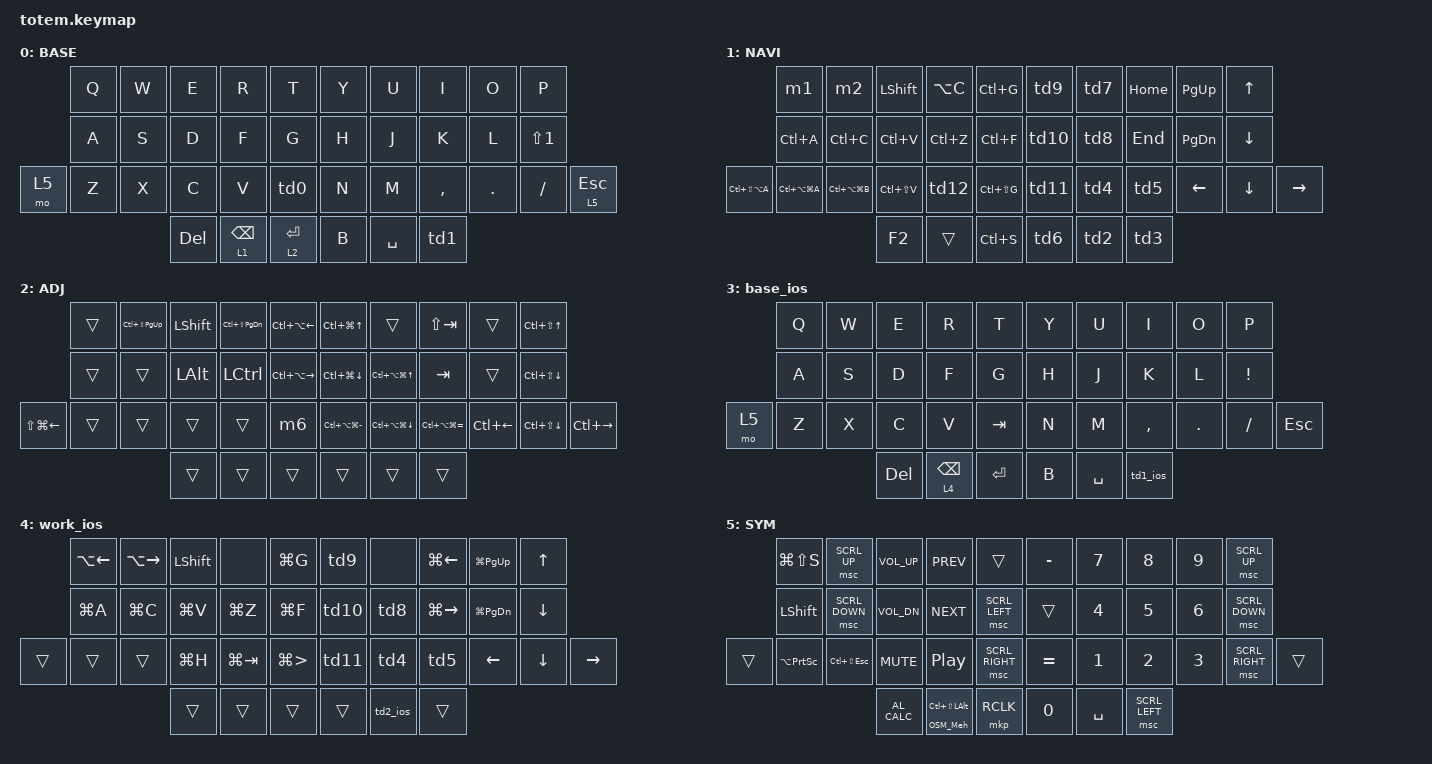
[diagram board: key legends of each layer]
//
//                                                        ▀▀▀▀▀     ▀▀▀▀▀          ▀▀█▀▀
//                                                        ▄▀▀▀▄  ▄  ▄▀▀▀▄  ▄  ▄▀▀▀▄  █  ▄▀▀▀▄
//                                                        █   █  █  █   █  █  █   █  █  █   █
//                                                         ▀▀▀   █   ▀▀▀   █   ▀▀▀   ▀   ▀▀▀
//                                                               █      ▄▄▄█▄▄▄    █   █  
//                                                               ▀      █  █  █     █▄█
//                                                             ▀▀▀▀▀    █  █  █      ▀
//                                                                      ▀  ▀  ▀
//
// ▄▄▄▄▄▄▄▄▄▄▄▄▄▄▄▄▄▄▄▄▄▄▄▄▄▄▄▄▄▄▄▄▄▄▄▄▄▄▄▄▄▄▄▄▄▄▄▄▄▄▄▄▄▄▄▄▄▄▄▄▄▄▄▄▄▄▄▄▄▄▄▄▄▄▄▄▄▄▄▄▄▄▄▄▄▄▄▄▄▄▄▄▄▄▄▄▄▄▄▄▄▄▄▄▄▄▄▄▄▄▄▄▄▄▄▄▄▄▄▄▄▄▄▄▄▄▄▄▄▄▄▄▄▄▄▄▄▄▄▄▄▄▄▄▄▄▄▄▄

#include <dt-bindings/zmk/mouse.h>
#include <behaviors.dtsi>
#include <dt-bindings/zmk/bt.h>
#include <dt-bindings/zmk/keys.h>
#include <dt-bindings/zmk/pointing.h>

#define BASE 0
#define NAV  1
#define SYM  2
#define ADJ  3
#define TVP1 4
#define TVP2 5

/ {
    combos {
        compatible = "zmk,combos";

        L_shift {
            bindings = <&kp LEFT_SHIFT>;
            key-positions = <11 12 13>;
            timeout-ms = <200>;
        };

        R_Shift {
            bindings = <&kp RIGHT_SHIFT>;
            key-positions = <16 17 18>;
            timeout-ms = <200>;
        };

        L_Ctrl {
            bindings = <&kp LEFT_CONTROL>;
            key-positions = <1 2 3>;
            timeout-ms = <200>;
        };

        R_Ctrl {
            bindings = <&kp RIGHT_CONTROL>;
            key-positions = <6 7 8>;
            timeout-ms = <200>;
        };

        L_Alt {
            bindings = <&kp LEFT_ALT>;
            key-positions = <13 14>;
            timeout-ms = <200>;
        };

        R_Alt {
            bindings = <&kp RIGHT_ALT>;
            key-positions = <15 16>;
            timeout-ms = <200>;
        };

        L_Gui {
            bindings = <&kp LEFT_GUI>;
            key-positions = <24 25>;
            timeout-ms = <200>;
        };

        R_Gui {
            bindings = <&kp RIGHT_GUI>;
            key-positions = <26 27>;
            timeout-ms = <200>;
        };

        T_ios {
            bindings = <&tog 3>;
            key-positions = <34 33 32>;
            timeout-ms = <200>;
        };

        T_setting {
            bindings = <&bt BT_CLR_ALL>;
            key-positions = <20 31>;
            timeout-ms = <200>;
        };

        bt_swith_0 {
            bindings = <&bt BT_SEL 0>;
            key-positions = <35 36 37 3>;
            timeout-ms = <200>;
        };

        bt_swith_1 {
            bindings = <&bt BT_SEL 1>;
            key-positions = <37 36 35 2>;
            timeout-ms = <200>;
        };

        bt_swith_2 {
            bindings = <&bt BT_SEL 2>;
            key-positions = <37 36 35 1>;
            timeout-ms = <200>;
        };

        BT_dis_0 {
            bindings = <&bt BT_DISC 0>;
            key-positions = <35 36 37 13>;
        };

        BT_dis_1 {
            bindings = <&bt BT_DISC 1>;
            key-positions = <35 36 37 12>;
        };

        BT_dis_2 {
            bindings = <&bt BT_DISC 2>;
            key-positions = <36 35 37 11>;
        };
    };

    macros {
        m1: m1 {
            compatible = "zmk,behavior-macro";
            #binding-cells = <0>;
            bindings = <&kp LC(M)>, <&macro_wait_time 10>, <&kp K>;

            label = "M1";
        };

        m2: m2 {
            compatible = "zmk,behavior-macro";
            #binding-cells = <0>;
            bindings =
                <&kp LEFT_ALT>,
                <&macro_wait_time 50>,
                <&kp T>,
                <&macro_wait_time 50>,
                <&kp ENTER>;

            label = "M2";
        };

        m3: m3 {
            compatible = "zmk,behavior-macro";
            #binding-cells = <0>;
            bindings =
                <&kp LS(LEFT_BRACKET) &kp LS(RIGHT_BRACKET)>,
                <&macro_wait_time 10>,
                <&kp LEFT>;

            label = "M3";
        };

        m4: m4 {
            compatible = "zmk,behavior-macro";
            #binding-cells = <0>;
            bindings = <&kp F6 &kp N &kp K>, <&macro_wait_time 10>, <&kp SPACE>;

            label = "M4";
        };

        m5: m5 {
            compatible = "zmk,behavior-macro";
            #binding-cells = <0>;
            bindings = <&kp F6 &kp N &kp H>, <&macro_wait_time 10>, <&kp SPACE>;

            label = "M5";
        };

        m0: m0 {
            compatible = "zmk,behavior-macro";
            #binding-cells = <0>;
            bindings =
                <&kp N0 &kp N6 &kp N0 &kp N6 &kp N2 &kp N2>,
                <&macro_wait_time 10>,
                <&kp ENTER>;

            label = "M0";
        };

        m6: m6 {
            compatible = "zmk,behavior-macro";
            #binding-cells = <0>;
            bindings = <&kp H &kp O &kp N &kp E &kp Y &kp N &kp L &kp C &kp H &kp I &kp AT &kp G &kp M &kp A &kp I &kp L &kp DOT &kp C &kp O &kp M>;
            label = "M6";
        };

        td2_tap: td2_tap {
            compatible = "zmk,behavior-macro";
            #binding-cells = <0>;
            bindings =
                <&kp DOT &kp DOT &kp DOT &kp SPACE>,
                <&macro_wait_time 10>,
                <&kp LEFT>;

            label = "TD2_TAP";
        };

        td2_hold: td2_hold {
            compatible = "zmk,behavior-macro";
            #binding-cells = <0>;
            bindings =
                <&kp FSLH &kp FSLH &kp MINUS &kp SPACE>,
                <&macro_wait_time 10>,
                <&kp LEFT>;

            label = "TD2_HOLD";
        };
    };

    behaviors {
        OSM_Meh: OSM_Meh {
            compatible = "zmk,behavior-sticky-key";
            label = "OSM_MEH";
            bindings = <&kp>;
            #binding-cells = <1>;
            release-after-ms = <200>;
            quick-release;
        };

        td1: td1 {
            compatible = "zmk,behavior-tap-dance";
            label = "TD1";
            #binding-cells = <0>;
            bindings = <&mt LANG2 LANG1>, <&kp CAPS>;

            tapping-term-ms = <300>;
        };

        td2: td2 {
            compatible = "zmk,behavior-tap-dance";
            label = "TD2";
            #binding-cells = <0>;
            bindings =
                <&mt LC(LA(LG(NUMBER_2))) LC(LA(LG(NUMBER_1)))>,
                <&kp LS(GRAVE)>;

            tapping-term-ms = <300>;
        };

        td3: td3 {
            compatible = "zmk,behavior-tap-dance";
            label = "TD3";
            #binding-cells = <0>;
            bindings =
                <&mt LC(LA(LG(NUMBER_6))) LC(LA(LG(N5)))>,
                <&kp LC(LA(LG(NUMBER_4)))>;

            tapping-term-ms = <300>;
        };

        td4: td4 {
            compatible = "zmk,behavior-tap-dance";
            label = "TD4";
            #binding-cells = <0>;
            bindings = <&mt LC(LA(LG(N7))) LS(N9)>, <&kp LEFT_BRACKET>;

            tapping-term-ms = <300>;
        };

        td5: td5 {
            compatible = "zmk,behavior-tap-dance";
            label = "TD5";
            #binding-cells = <0>;
            bindings = <&mt LC(LA(LG(N8))) LS(N0)>, <&kp RIGHT_BRACKET>;

            tapping-term-ms = <300>;
        };

        td6: td6 {
            compatible = "zmk,behavior-tap-dance";
            label = "TD6";
            #binding-cells = <0>;
            bindings = <&mt LC(LA(LG(N0))) LC(LA(LG(N9)))>, <&m3>;

            tapping-term-ms = <300>;
        };

        td7: td7 {
            compatible = "zmk,behavior-tap-dance";
            label = "TD7";
            #binding-cells = <0>;
            bindings =
                <&mt LC(LA(LG(GRAVE))) LC(LA(LG(COMMA)))>,
                <&kp LC(LA(LG(PERIOD)))>;

            tapping-term-ms = <300>;
        };

        td8: td8 {
            compatible = "zmk,behavior-tap-dance";
            label = "TD8";
            #binding-cells = <0>;
            bindings = <&kp SQT>, <&kp LS(SQT)>;

            tapping-term-ms = <300>;
        };

        td9: td9 {
            compatible = "zmk,behavior-tap-dance";
            label = "TD9";
            #binding-cells = <0>;
            bindings = <&kp MINUS>, <&kp LS(MINUS)>;

            tapping-term-ms = <300>;
        };

        td10: td10 {
            compatible = "zmk,behavior-tap-dance";
            label = "TD10";
            #binding-cells = <0>;
            bindings = <&kp SEMICOLON>, <&kp LS(SEMICOLON)>;

            tapping-term-ms = <300>;
        };

        td11: td11 {
            compatible = "zmk,behavior-tap-dance";
            label = "TD11";
            #binding-cells = <0>;
            bindings = <&kp EQUAL>, <&kp LS(EQUAL)>;

            tapping-term-ms = <300>;
        };

        td12: td12 {
            compatible = "zmk,behavior-tap-dance";
            label = "TD12";
            #binding-cells = <0>;
            bindings = <&td12_s 0 F6>, <&m4>;

            tapping-term-ms = <300>;
        };

        td12_s: td12_s {
            compatible = "zmk,behavior-hold-tap";
            label = "TD12_S";
            bindings = <&m5>, <&kp>;

            #binding-cells = <2>;
            flavor = "hold-preferred";
            tapping-term-ms = <200>;
        };

        td0: td0 {
            compatible = "zmk,behavior-tap-dance";
            label = "TD0";
            #binding-cells = <0>;
            bindings = <&kp TAB>, <&m0>;

            tapping-term-ms = <300>;
        };

        td1_ios: td1_ios {
            compatible = "zmk,behavior-tap-dance";
            label = "TD1_IOS";
            #binding-cells = <0>;
            bindings = <&kp LC(SPACE)>, <&kp CAPS>;

            tapping-term-ms = <300>;
        };

        td2_ios_s: td2_ios_s {
            compatible = "zmk,behavior-hold-tap";
            label = "TD2_IOS_S";
            bindings = <&td2_hold>, <&td2_tap>;

            #binding-cells = <2>;
            tapping-term-ms = <300>;
        };

        td2_ios: td2_ios {
            compatible = "zmk,behavior-tap-dance";
            label = "TD2_IOS";
            #binding-cells = <0>;
            bindings = <&td2_ios_s 0 0>, <&kp LS(GRAVE)>;

            tapping-term-ms = <300>;
        };

        td_space: td_space {
            compatible = "zmk,behavior-hold-tap";
            label = "TD_SPACE";
            bindings = <&mo>, <&kp>;

            #binding-cells = <2>;
            flavor = "tap-unless-interrupted";
            tapping-term-ms = <300>;
        };
    };

    keymap {
        compatible = "zmk,keymap";

        // ▄▄▄▄▄▄▄▄▄▄▄▄▄▄▄▄▄▄▄▄▄▄▄▄▄▄▄▄▄▄▄▄▄▄▄▄▄▄▄▄▄▄▄▄▄▄▄▄▄▄▄▄▄▄▄▄▄▄▄▄▄▄▄▄▄▄▄▄▄▄▄▄▄▄▄▄▄▄▄▄▄▄▄▄▄▄▄▄▄▄▄▄▄▄▄▄▄▄▄▄▄▄▄▄▄▄▄▄▄▄▄▄▄▄▄▄▄▄▄▄▄▄▄▄▄▄▄▄▄▄▄▄▄▄▄▄▄▄▄▄▄▄▄▄▄▄▄▄▄

        base_win {
            // ┏━━━━━━━━━━━━━━━━━━━━━━━━━━━━━━━━━━━━━━━┓

            label = "BASE";

            // ┗━━━━━━━━━━━━━━━━━━━━━━━━━━━━━━━━━━━━━━━┛
            //             ┏━━━━━━━━━━━┳━━━━━━━━━━━┳━━━━━━━━━━━┳━━━━━━━━━━━┳━━━━━━━━━━━┓   ┏━━━━━━━━━━━┳━━━━━━━━━━━┳━━━━━━━━━━━┳━━━━━━━━━━━┳━━━━━━━━━━━┓
            //             ┃     Q     ┃     W     ┃     F     ┃     P     ┃     G     ┃   ┃     J     ┃     L     ┃     U     ┃     Y     ┃     ;     ┃
            //             ┣━━━━━━━━━━━╋━━━━━━━━━━━╋━━━━━━━━━━━╋━━━━━━━━━━━╋━━━━━━━━━━━┫   ┣━━━━━━━━━━━╋━━━━━━━━━━━╋━━━━━━━━━━━╋━━━━━━━━━━━╋━━━━━━━━━━━┫
            //             ┃     A     ┃     R     ┃     S     ┃     T     ┃     D     ┃   ┃     H     ┃     N     ┃     E     ┃     I     ┃     O     ┃
            // ┏━━━━━━━━━━━╋━━━━━━━━━━━╋━━━━━━━━━━━╋━━━━━━━━━━━╋━━━━━━━━━━━╋━━━━━━━━━━━┫   ┣━━━━━━━━━━━╋━━━━━━━━━━━╋━━━━━━━━━━━╋━━━━━━━━━━━╋━━━━━━━━━━━╋━━━━━━━━━━━┓
            // ┃     Q     ┃     Z     ┃     X     ┃     C     ┃     V     ┃     B     ┃   ┃     K     ┃     M     ┃     ,     ┃     .     ┃     /     ┃     \     ┃
            // ┗━━━━━━━━━━━┻━━━━━━━━━━━┻━━━━━━━━━━━╋━━━━━━━━━━━╋━━━━━━━━━━━╋━━━━━━━━━━━┫   ┣━━━━━━━━━━━╋━━━━━━━━━━━╋━━━━━━━━━━━╋━━━━━━━━━━━┻━━━━━━━━━━━┻━━━━━━━━━━━┛
            //                                     ┃    DEL    ┃    TAB    ┃    SPC    ┃   ┃   ENTER   ┃           ┃   BSPC    ┃
            //                                     ┗━━━━━━━━━━━┻━━━━━━━━━━━┻━━━━━━━━━━━┛   ┗━━━━━━━━━━━┻━━━━━━━━━━━┻━━━━━━━━━━━┛

            bindings = <
       &kp Q  &kp W  &kp E       &kp R                  &kp T          &kp Y  &kp U      &kp I      &kp O    &kp P
       &kp A  &kp S  &kp D       &kp F                  &kp G          &kp H  &kp J      &kp K      &kp L    &kp LS(NUMBER_1)
&mo 5  &kp Z  &kp X  &kp C       &kp V                  &td0           &kp N  &kp M      &kp COMMA  &kp DOT  &kp FSLH          &lt 5 ESC
                     &kp DELETE  &td_space 1 BACKSPACE  &lt 2 ENTER    &kp B  &kp SPACE  &td1
            >;
        };

        work_win {
            // ┏━━━━━━━━━━━━━━━━━━━━━━━━━━━━━━━━━━━━━━━┓

            label = "NAVI";

            // ┗━━━━━━━━━━━━━━━━━━━━━━━━━━━━━━━━━━━━━━━┛
            //             ┏━━━━━━━━━━━┳━━━━━━━━━━━┳━━━━━━━━━━━┳━━━━━━━━━━━┳━━━━━━━━━━━┓   ┏━━━━━━━━━━━┳━━━━━━━━━━━┳━━━━━━━━━━━┳━━━━━━━━━━━┳━━━━━━━━━━━┓
            //             ┃           ┃           ┃     UP    ┃           ┃     {     ┃   ┃     }     ┃     7     ┃     8     ┃     9     ┃     +     ┃
            //             ┣━━━━━━━━━━━╋━━━━━━━━━━━╋━━━━━━━━━━━╋━━━━━━━━━━━╋━━━━━━━━━━━┫   ┣━━━━━━━━━━━╋━━━━━━━━━━━╋━━━━━━━━━━━╋━━━━━━━━━━━╋━━━━━━━━━━━┫
            //             ┃   SHIFT   ┃   LEFT    ┃    DOWN   ┃   RIGHT   ┃     [     ┃   ┃     ]     ┃     4     ┃     5     ┃     6     ┃     -     ┃
            // ┏━━━━━━━━━━━╋━━━━━━━━━━━╋━━━━━━━━━━━╋━━━━━━━━━━━╋━━━━━━━━━━━╋━━━━━━━━━━━┫   ┣━━━━━━━━━━━╋━━━━━━━━━━━╋━━━━━━━━━━━╋━━━━━━━━━━━╋━━━━━━━━━━━╋━━━━━━━━━━━┓
            // ┃           ┃           ┃   P UP    ┃  C LOCK   ┃  P DOWN   ┃     (     ┃   ┃     )     ┃     1     ┃     2     ┃     3     ┃     *     ┃           ┃
            // ┗━━━━━━━━━━━┻━━━━━━━━━━━┻━━━━━━━━━━━╋━━━━━━━━━━━╋━━━━━━━━━━━╋━━━━━━━━━━━┫   ┣━━━━━━━━━━━╋━━━━━━━━━━━╋━━━━━━━━━━━╋━━━━━━━━━━━┻━━━━━━━━━━━┻━━━━━━━━━━━┛
            //                                     ┃           ┃    TAB    ┃    SPC    ┃   ┃    DEL    ┃     0     ┃           ┃
            //                                     ┗━━━━━━━━━━━┻━━━━━━━━━━━┻━━━━━━━━━━━┛   ┗━━━━━━━━━━━┻━━━━━━━━━━━┻━━━━━━━━━━━┛

            bindings = <
                   &m1                &m2                &kp LEFT_SHIFT  &kp LA(C)  &kp LC(G)        &td9   &td7  &kp HOME  &kp PAGE_UP    &kp UP
                   &kp LC(A)          &kp LC(C)          &kp LC(V)       &kp LC(Z)  &kp LC(F)        &td10  &td8  &kp END   &kp PAGE_DOWN  &kp DOWN
&kp LC(LS(LA(A)))  &kp LC(LA(LG(A)))  &kp LC(LA(LG(B)))  &kp LC(LS(V))   &td12      &kp LC(LS(G))    &td11  &td4  &td5      &kp LEFT       &kp DOWN  &kp RIGHT
                                                         &kp F2          &trans     &kp LC(S)        &td6   &td2  &td3
            >;
        };

        edit_win {
            // ┏━━━━━━━━━━━━━━━━━━━━━━━━━━━━━━━━━━━━━━━┓

            label = "ADJ";

            // ┗━━━━━━━━━━━━━━━━━━━━━━━━━━━━━━━━━━━━━━━┛
            //             ┏━━━━━━━━━━━┳━━━━━━━━━━━┳━━━━━━━━━━━┳━━━━━━━━━━━┳━━━━━━━━━━━┓   ┏━━━━━━━━━━━┳━━━━━━━━━━━┳━━━━━━━━━━━┳━━━━━━━━━━━┳━━━━━━━━━━━┓
            //             ┃   RESET   ┃ BT CLEAR  ┃  OUT TOG  ┃           ┃           ┃   ┃           ┃    F7     ┃    F8     ┃    F9     ┃    F12    ┃
            //             ┣━━━━━━━━━━━╋━━━━━━━━━━━╋━━━━━━━━━━━╋━━━━━━━━━━━╋━━━━━━━━━━━┫   ┣━━━━━━━━━━━╋━━━━━━━━━━━╋━━━━━━━━━━━╋━━━━━━━━━━━╋━━━━━━━━━━━┫
            //             ┃ BOOTLOAD  ┃ BT NEXT   ┃           ┃           ┃           ┃   ┃           ┃    F4     ┃    F5     ┃    F6     ┃    F11    ┃
            // ┏━━━━━━━━━━━╋━━━━━━━━━━━╋━━━━━━━━━━━╋━━━━━━━━━━━╋━━━━━━━━━━━╋━━━━━━━━━━━┫   ┣━━━━━━━━━━━╋━━━━━━━━━━━╋━━━━━━━━━━━╋━━━━━━━━━━━╋━━━━━━━━━━━╋━━━━━━━━━━━┓
            // ┃           ┃           ┃ BT PREV   ┃           ┃           ┃           ┃   ┃           ┃    F1     ┃    F2     ┃    F3     ┃    F10    ┃           ┃
            // ┗━━━━━━━━━━━┻━━━━━━━━━━━┻━━━━━━━━━━━╋━━━━━━━━━━━╋━━━━━━━━━━━╋━━━━━━━━━━━┫   ┣━━━━━━━━━━━╋━━━━━━━━━━━╋━━━━━━━━━━━╋━━━━━━━━━━━┻━━━━━━━━━━━┻━━━━━━━━━━━┛
            //                                     ┃           ┃           ┃           ┃   ┃           ┃           ┃           ┃
            //                                     ┗━━━━━━━━━━━┻━━━━━━━━━━━┻━━━━━━━━━━━┛   ┗━━━━━━━━━━━┻━━━━━━━━━━━┻━━━━━━━━━━━┛

            bindings = <
                  &trans  &kp LC(LS(PAGE_UP))  &kp LEFT_SHIFT  &kp LC(LS(PAGE_DOWN))  &kp LC(LA(LEFT))     &kp LC(LG(UP))         &trans                &kp LS(TAB)            &trans        &kp LC(LS(UP))
                  &trans  &trans               &kp LEFT_ALT    &kp LEFT_CONTROL       &kp LC(LA(RIGHT))    &kp LC(LG(DOWN))       &kp LC(LA(LG(UP)))    &kp TAB                &trans        &kp LC(LS(DOWN))
&kp LS(LG(LEFT))  &trans  &trans               &trans          &trans                 &m6                  &kp LC(LA(LG(MINUS)))  &kp LC(LA(LG(DOWN)))  &kp LC(LA(LG(EQUAL)))  &kp LC(LEFT)  &kp LC(LS(DOWN))  &kp LC(RIGHT)
                                               &trans          &trans                 &trans               &trans                 &trans                &trans
            >;
        };

        base_ios {
            bindings = <
       &kp Q  &kp W  &kp E       &kp R                  &kp T        &kp Y  &kp U      &kp I      &kp O       &kp P
       &kp A  &kp S  &kp D       &kp F                  &kp G        &kp H  &kp J      &kp K      &kp L       &kp EXCLAMATION
&mo 5  &kp Z  &kp X  &kp C       &kp V                  &kp TAB      &kp N  &kp M      &kp COMMA  &kp PERIOD  &kp SLASH        &kp ESC
                     &kp DELETE  &td_space 4 BACKSPACE  &kp ENTER    &kp B  &kp SPACE  &td1_ios
            >;
        };

        work_ios {
            bindings = <
        &kp LA(LEFT)  &kp LA(RIGHT)  &kp LEFT_SHIFT  &none        &kp LG(G)     &td9    &none     &kp LG(LEFT_ARROW)  &kp LG(PAGE_UP)    &kp UP
        &kp LG(A)     &kp LG(C)      &kp LG(V)       &kp LG(Z)    &kp LG(F)     &td10   &td8      &kp LG(RIGHT)       &kp LG(PAGE_DOWN)  &kp DOWN
&trans  &trans        &trans         &kp LG(H)       &kp LG(TAB)  &kp LG(GT)    &td11   &td4      &td5                &kp LEFT           &kp DOWN  &kp RIGHT
                                     &trans          &trans       &trans        &trans  &td2_ios  &trans
            >;
        };

        number {
            // ┏━━━━━━━━━━━━━━━━━━━━━━━━━━━━━━━━━━━━━━━┓

            label = "SYM";

            // ┗━━━━━━━━━━━━━━━━━━━━━━━━━━━━━━━━━━━━━━━┛
            //             ┏━━━━━━━━━━━┳━━━━━━━━━━━┳━━━━━━━━━━━┳━━━━━━━━━━━┳━━━━━━━━━━━┓   ┏━━━━━━━━━━━┳━━━━━━━━━━━┳━━━━━━━━━━━┳━━━━━━━━━━━┳━━━━━━━━━━━┓
            //             ┃     !     ┃     @     ┃     #     ┃     $     ┃     %     ┃   ┃     ˆ     ┃     &     ┃     Ü     ┃     '     ┃     "     ┃
            //             ┣━━━━━━━━━━━╋━━━━━━━━━━━╋━━━━━━━━━━━╋━━━━━━━━━━━╋━━━━━━━━━━━┫   ┣━━━━━━━━━━━╋━━━━━━━━━━━╋━━━━━━━━━━━╋━━━━━━━━━━━╋━━━━━━━━━━━┫
            //             ┃     Ä     ┃           ┃    SZ     ┃           ┃           ┃   ┃   MUTE    ┃   YEN     ┃   EURO    ┃  POUND    ┃     Ö     ┃
            // ┏━━━━━━━━━━━╋━━━━━━━━━━━╋━━━━━━━━━━━╋━━━━━━━━━━━╋━━━━━━━━━━━╋━━━━━━━━━━━┫   ┣━━━━━━━━━━━╋━━━━━━━━━━━╋━━━━━━━━━━━╋━━━━━━━━━━━╋━━━━━━━━━━━╋━━━━━━━━━━━┓
            // ┃           ┃  EMAIL1   ┃  EMAIL2   ┃           ┃           ┃           ┃   ┃   VOL-    ┃   VOL+    ┃   LAST    ┃   NEXT    ┃     \     ┃           ┃
            // ┗━━━━━━━━━━━┻━━━━━━━━━━━┻━━━━━━━━━━━╋━━━━━━━━━━━╋━━━━━━━━━━━╋━━━━━━━━━━━┫   ┣━━━━━━━━━━━╋━━━━━━━━━━━╋━━━━━━━━━━━╋━━━━━━━━━━━┻━━━━━━━━━━━┻━━━━━━━━━━━┛
            //                                     ┃           ┃    GIF    ┃    ADJ    ┃   ┃           ┃           ┃           ┃
            //                                     ┗━━━━━━━━━━━┻━━━━━━━━━━━┻━━━━━━━━━━━┛   ┗━━━━━━━━━━━┻━━━━━━━━━━━┻━━━━━━━━━━━┛

            bindings = <
        &kp LG(LS(S))        &msc SCRL_UP     &kp C_VOLUME_UP  &kp C_PREV                 &trans             &kp MINUS  &kp N7        &kp N8          &kp N9        &msc SCRL_UP
        &kp LEFT_SHIFT       &msc SCRL_DOWN   &kp C_VOL_DN     &kp C_NEXT                 &msc SCRL_LEFT     &trans     &kp NUMBER_4  &kp N5          &kp NUMBER_6  &msc SCRL_DOWN
&trans  &kp LA(PRINTSCREEN)  &kp LC(LS(ESC))  &kp C_MUTE       &kp C_PP                   &msc SCRL_RIGHT    &kp EQUAL  &kp NUMBER_1  &kp NUMBER_2    &kp NUMBER_3  &msc SCRL_RIGHT  &trans
                                              &kp C_AL_CALC    &OSM_Meh LC(LS(LEFT_ALT))  &mkp RCLK          &kp N0     &kp SPACE     &msc SCRL_LEFT
            >;
        };

        // ▄▄▄▄▄▄▄▄▄▄▄▄▄▄▄▄▄▄▄▄▄▄▄▄▄▄▄▄▄▄▄▄▄▄▄▄▄▄▄▄▄▄▄▄▄▄▄▄▄▄▄▄▄▄▄▄▄▄▄▄▄▄▄▄▄▄▄▄▄▄▄▄▄▄▄▄▄▄▄▄▄▄▄▄▄▄▄▄▄▄▄▄▄▄▄▄▄▄▄▄▄▄▄▄▄▄▄▄▄▄▄▄▄▄▄▄▄▄▄▄▄▄▄▄▄▄▄▄▄▄▄▄▄▄▄▄▄▄▄▄▄▄▄▄▄▄▄▄▄
        // ▄▄▄▄▄▄▄▄▄▄▄▄▄▄▄▄▄▄▄▄▄▄▄▄▄▄▄▄▄▄▄▄▄▄▄▄▄▄▄▄▄▄▄▄▄▄▄▄▄▄▄▄▄▄▄▄▄▄▄▄▄▄▄▄▄▄▄▄▄▄▄▄▄▄▄▄▄▄▄▄▄▄▄▄▄▄▄▄▄▄▄▄▄▄▄▄▄▄▄▄▄▄▄▄▄▄▄▄▄▄▄▄▄▄▄▄▄▄▄▄▄▄▄▄▄▄▄▄▄▄▄▄▄▄▄▄▄▄▄▄▄▄▄▄▄▄▄▄▄
    };
};
